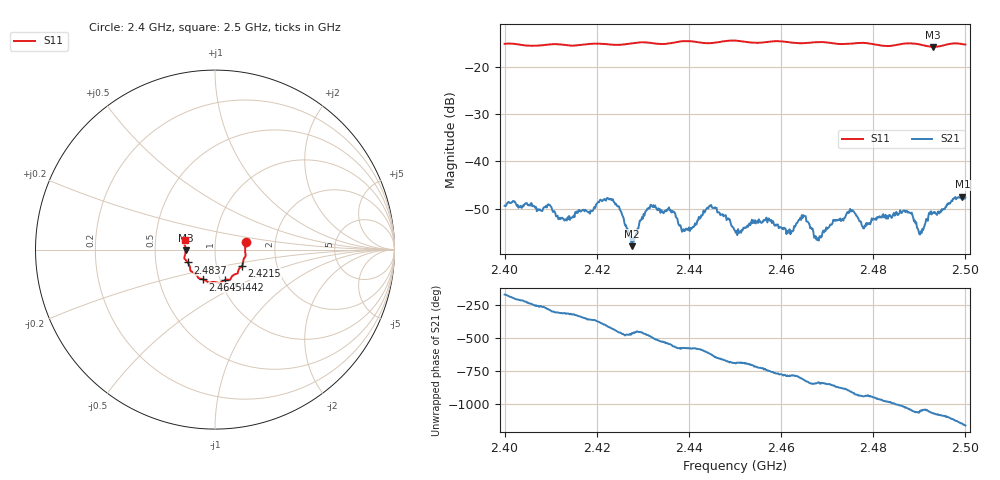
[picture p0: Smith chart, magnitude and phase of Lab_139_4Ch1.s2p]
# Hz S RI R 50
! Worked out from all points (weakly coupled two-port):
!   601 points, 2.4 GHz to 2.5 GHz, reference 50 ohm
!   highest |S21| = -47.46 dB at 2.4993 GHz (marker M1); lowest = -58.0 dB at 2.4277 GHz (marker M2)
!   lowest |S11| = -15.7 dB at 2.493 GHz (marker M3), VSWR 1.39, Z = 35.9 - j0.218 ohm
!   |S11| at or under -10 dB: start of sweep to end of sweep
!   S12 and S22 are empty: the file has one direction only
!   S11 on the Smith chart (normalised r, x): 2.4 GHz: 1.41, +0.12; 2.4215 GHz: 1.33, -0.25; 2.4442 GHz: 1.05, -0.37; 2.4645 GHz: 0.83, -0.29; 2.4837 GHz: 0.73, -0.11; 2.5 GHz: 0.71, +0.07
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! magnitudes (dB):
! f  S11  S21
! 2.4 GHz  -15.1  -49.4
! 2.4167 GHz  -15.3  -50.5
! 2.4215 GHz  -15.1  -48.1
! 2.4247 GHz  -15.3  -49.5
! 2.4277 GHz  -15.0  -58.0
! 2.4312 GHz  -14.8  -50.0
! 2.4333 GHz  -15.1  -49.9
! 2.439 GHz  -14.5  -54.8
! 2.4442 GHz  -15.0  -50.0
! 2.45 GHz  -14.4  -54.7
! 2.4617 GHz  -14.7  -54.9
! 2.4645 GHz  -15.0  -51.4
! 2.4667 GHz  -14.8  -54.3
! 2.4753 GHz  -15.0  -50.4
! 2.478 GHz  -14.9  -54.2
! 2.4833 GHz  -15.6  -51.7
! 2.4837 GHz  -15.5  -51.4
! 2.4878 GHz  -15.0  -50.9
! 2.4903 GHz  -15.3  -54.8
! 2.493 GHz  -15.7  -50.8
! 2.4993 GHz  -15.1  -47.5
! 2.5 GHz  -15.3  -47.6
